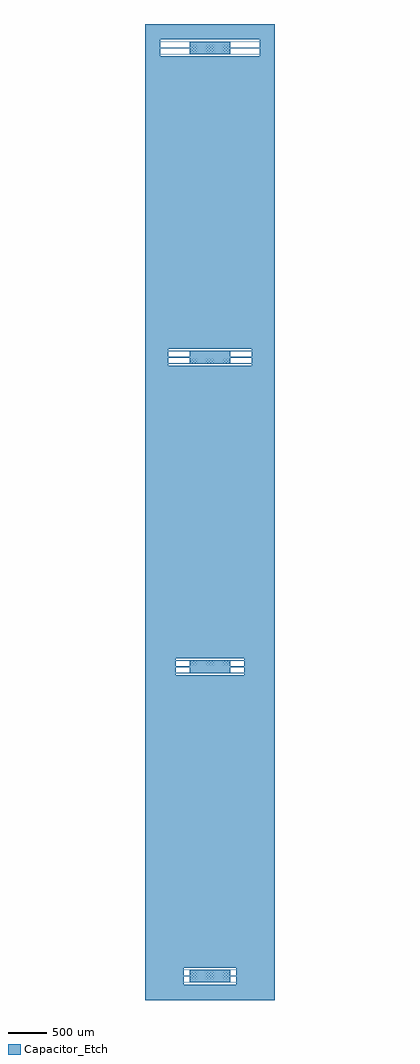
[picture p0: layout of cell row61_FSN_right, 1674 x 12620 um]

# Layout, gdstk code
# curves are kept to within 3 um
import gdstk
lib = gdstk.Library(unit=1e-6, precision=1e-09)
def R(c, l, rs):  # rectangles x0, y0, x1, y1
    for r in rs: c.add(gdstk.rectangle(r[:2], r[2:], *l))
def P(c, l, *ps):  # polygons
    for p in ps: c.add(gdstk.Polygon(p, *l))
Capacitor_Etch = (7, 0)

row61_fsn_right = lib.new_cell('row61_FSN_right')
R(row61_fsn_right, Capacitor_Etch, [(6285.25,12680,6425.25,12880), (6425.25,12680,6565.25,12880)])
P(row61_fsn_right, Capacitor_Etch, [(6425.25,488),(6425.25,575),(5603,575),(5603,498),(6099,498),(6099,559),(6105,565),(6175,565),(6181,555.25),(6205.25,555.25),(6205.25,564.75),(6214.75,564.75),(6214.75,555.25),(6245.25,555.25),(6245.25,564.75),(6254.75,564.75),(6254.75,555.25),(6285.25,555.25),(6285.25,564.75),(6294.75,564.75),(6294.75,555.25),(6325.25,555.25),(6325.25,564.75),(6334.75,564.75),(6334.75,555.25),(6365.25,555.25),(6365.25,564.75),(6374.75,564.75),(6374.75,555.25),(6405.25,555.25),(6405.25,564.75),(6414.75,564.75),(6414.75,555.25),(6181,555.25),(6181,535.25),(6185.25,535.25),(6185.25,544.75),(6194.75,544.75),(6194.75,535.25),(6225.25,535.25),(6225.25,544.75),(6234.75,544.75),(6234.75,535.25),(6265.25,535.25),(6265.25,544.75),(6274.75,544.75),(6274.75,535.25),(6305.25,535.25),(6305.25,544.75),(6314.75,544.75),(6314.75,535.25),(6345.25,535.25),(6345.25,544.75),(6354.75,544.75),(6354.75,535.25),(6385.25,535.25),(6385.25,544.75),(6394.75,544.75),(6394.75,535.25),(6181,535.25),(6181,515.25),(6205.25,515.25),(6205.25,524.75),(6214.75,524.75),(6214.75,515.25),(6245.25,515.25),(6245.25,524.75),(6254.75,524.75),(6254.75,515.25),(6285.25,515.25),(6285.25,524.75),(6294.75,524.75),(6294.75,515.25),(6325.25,515.25),(6325.25,524.75),(6334.75,524.75),(6334.75,515.25),(6365.25,515.25),(6365.25,524.75),(6374.75,524.75),(6374.75,515.25),(6405.25,515.25),(6405.25,524.75),(6414.75,524.75),(6414.75,515.25),(6181,515.25),(6178.25,495.25),(6185.25,495.25),(6185.25,504.75),(6194.75,504.75),(6194.75,495.25),(6225.25,495.25),(6225.25,504.75),(6234.75,504.75),(6234.75,495.25),(6265.25,495.25),(6265.25,504.75),(6274.75,504.75),(6274.75,495.25),(6305.25,495.25),(6305.25,504.75),(6314.75,504.75),(6314.75,495.25),(6345.25,495.25),(6345.25,504.75),(6354.75,504.75),(6354.75,495.25),(6385.25,495.25),(6385.25,504.75),(6394.75,504.75),(6394.75,495.25),(6105,492),(6099,498),(5603,498),(5603,260),(6425.25,260),(6425.25,460),(6099,460),(6099,488)],
  [(6425.25,555.25),(6445.25,555.25),(6445.25,564.75),(6454.75,564.75),(6454.75,555.25),(6485.25,555.25),(6485.25,564.75),(6494.75,564.75),(6494.75,555.25),(6525.25,555.25),(6525.25,564.75),(6534.75,564.75),(6534.75,555.25),(6565.25,555.25),(6565.25,564.75),(6574.75,564.75),(6574.75,555.25),(6605.25,555.25),(6605.25,564.75),(6614.75,564.75),(6614.75,555.25),(6645.25,555.25),(6645.25,564.75),(6654.75,564.75),(6654.75,555.25),(6685.25,555.25),(6685.25,564.75),(6694.75,564.75),(6694.75,555.25),(6425.25,555.25),(6425.25,544.75),(6434.75,544.75),(6434.75,535.25),(6465.25,535.25),(6465.25,544.75),(6474.75,544.75),(6474.75,535.25),(6505.25,535.25),(6505.25,544.75),(6514.75,544.75),(6514.75,535.25),(6545.25,535.25),(6545.25,544.75),(6554.75,544.75),(6554.75,535.25),(6585.25,535.25),(6585.25,544.75),(6594.75,544.75),(6594.75,535.25),(6625.25,535.25),(6625.25,544.75),(6634.75,544.75),(6634.75,535.25),(6665.25,535.25),(6665.25,544.75),(6674.75,544.75),(6674.75,535.25),(6425.25,535.25),(6425.25,515.25),(6445.25,515.25),(6445.25,524.75),(6454.75,524.75),(6454.75,515.25),(6485.25,515.25),(6485.25,524.75),(6494.75,524.75),(6494.75,515.25),(6525.25,515.25),(6525.25,524.75),(6534.75,524.75),(6534.75,515.25),(6565.25,515.25),(6565.25,524.75),(6574.75,524.75),(6574.75,515.25),(6605.25,515.25),(6605.25,524.75),(6614.75,524.75),(6614.75,515.25),(6645.25,515.25),(6645.25,524.75),(6654.75,524.75),(6654.75,515.25),(6685.25,515.25),(6685.25,524.75),(6694.75,524.75),(6694.75,515.25),(6425.25,515.25),(6425.25,504.75),(6434.75,504.75),(6434.75,495.25),(6465.25,495.25),(6465.25,504.75),(6474.75,504.75),(6474.75,495.25),(6505.25,495.25),(6505.25,504.75),(6514.75,504.75),(6514.75,495.25),(6545.25,495.25),(6545.25,504.75),(6554.75,504.75),(6554.75,495.25),(6585.25,495.25),(6585.25,504.75),(6594.75,504.75),(6594.75,495.25),(6625.25,495.25),(6625.25,504.75),(6634.75,504.75),(6634.75,495.25),(6665.25,495.25),(6665.25,504.75),(6674.75,504.75),(6674.75,498),(6699,498),(6699,559),(6705,565),(6775,565),(6781,559),(6781,498),(6775,492),(6705,492),(6699,498),(6425.25,495.25),(6425.25,488),(6781,488),(6781,460),(6425.25,460),(6425.25,260),(7277,260),(7277,575),(6425.25,575)],
  [(6099,581),(6099,615.25),(5603,615.25),(5603,575),(6105,575)],
  [(6175.25,575.25),(6185.25,575.25),(6185.25,584.75),(6194.75,584.75),(6194.75,575.25),(6225.25,575.25),(6225.25,584.75),(6234.75,584.75),(6234.75,575.25),(6265.25,575.25),(6265.25,584.75),(6274.75,584.75),(6274.75,575.25),(6305.25,575.25),(6305.25,584.75),(6314.75,584.75),(6314.75,575.25),(6345.25,575.25),(6345.25,584.75),(6354.75,584.75),(6354.75,575.25),(6385.25,575.25),(6385.25,584.75),(6394.75,584.75),(6394.75,575.25),(6425.25,575.25),(6425.25,584.75),(6434.75,584.75),(6434.75,575.25),(6465.25,575.25),(6465.25,584.75),(6474.75,584.75),(6474.75,575.25),(6505.25,575.25),(6505.25,584.75),(6514.75,584.75),(6514.75,575.25),(6545.25,575.25),(6545.25,584.75),(6554.75,584.75),(6554.75,575.25),(6585.25,575.25),(6585.25,584.75),(6594.75,584.75),(6594.75,575.25),(6625.25,575.25),(6625.25,584.75),(6634.75,584.75),(6634.75,575.25),(6665.25,575.25),(6665.25,584.75),(6674.75,584.75),(6674.75,575.25),(6175,575),(6705,575),(6699,581),(6699,615.25),(6181,615.25),(6181,595.25),(6205.25,595.25),(6205.25,604.75),(6214.75,604.75),(6214.75,595.25),(6245.25,595.25),(6245.25,604.75),(6254.75,604.75),(6254.75,595.25),(6285.25,595.25),(6285.25,604.75),(6294.75,604.75),(6294.75,595.25),(6325.25,595.25),(6325.25,604.75),(6334.75,604.75),(6334.75,595.25),(6365.25,595.25),(6365.25,604.75),(6374.75,604.75),(6374.75,595.25),(6405.25,595.25),(6405.25,604.75),(6414.75,604.75),(6414.75,595.25),(6445.25,595.25),(6445.25,604.75),(6454.75,604.75),(6454.75,595.25),(6485.25,595.25),(6485.25,604.75),(6494.75,604.75),(6494.75,595.25),(6525.25,595.25),(6525.25,604.75),(6534.75,604.75),(6534.75,595.25),(6565.25,595.25),(6565.25,604.75),(6574.75,604.75),(6574.75,595.25),(6605.25,595.25),(6605.25,604.75),(6614.75,604.75),(6614.75,595.25),(6645.25,595.25),(6645.25,604.75),(6654.75,604.75),(6654.75,595.25),(6685.25,595.25),(6685.25,604.75),(6694.75,604.75),(6694.75,595.25),(6181,595.25),(6181,581)],
  [(7277,615.25),(6781,615.25),(6781,581),(6775,575),(7277,575)],
  [(6185.25,615.25),(6185.25,624.75),(6194.75,624.75),(6194.75,615.25),(6225.25,615.25),(6225.25,624.75),(6234.75,624.75),(6234.75,615.25),(6265.25,615.25),(6265.25,624.75),(6274.75,624.75),(6274.75,615.25),(6305.25,615.25),(6305.25,624.75),(6314.75,624.75),(6314.75,615.25),(6345.25,615.25),(6345.25,624.75),(6354.75,624.75),(6354.75,615.25),(6385.25,615.25),(6385.25,624.75),(6394.75,624.75),(6394.75,615.25),(6425.25,615.25),(6425.25,624.75),(6434.75,624.75),(6434.75,615.25),(6465.25,615.25),(6465.25,624.75),(6474.75,624.75),(6474.75,615.25),(6505.25,615.25),(6505.25,624.75),(6514.75,624.75),(6514.75,615.25),(6545.25,615.25),(6545.25,624.75),(6554.75,624.75),(6554.75,615.25),(6585.25,615.25),(6585.25,624.75),(6594.75,624.75),(6594.75,615.25),(6625.25,615.25),(6625.25,624.75),(6634.75,624.75),(6634.75,615.25),(6665.25,615.25),(6665.25,624.75),(6674.75,624.75),(6674.75,615.25),(6699,615.25),(6699,642),(6705,648),(6775,648),(6781,642),(6781,615.25),(7277,615.25),(7277,4460),(5603,4460),(5603,652),(6099,652),(6099,680),(6781,680),(6781,652),(5603,652),(5603,615.25),(6099,615.25),(6099,642),(6105,648),(6175,648),(6181,635.25),(6205.25,635.25),(6205.25,644.75),(6214.75,644.75),(6214.75,635.25),(6245.25,635.25),(6245.25,644.75),(6254.75,644.75),(6254.75,635.25),(6285.25,635.25),(6285.25,644.75),(6294.75,644.75),(6294.75,635.25),(6325.25,635.25),(6325.25,644.75),(6334.75,644.75),(6334.75,635.25),(6365.25,635.25),(6365.25,644.75),(6374.75,644.75),(6374.75,635.25),(6405.25,635.25),(6405.25,644.75),(6414.75,644.75),(6414.75,635.25),(6445.25,635.25),(6445.25,644.75),(6454.75,644.75),(6454.75,635.25),(6485.25,635.25),(6485.25,644.75),(6494.75,644.75),(6494.75,635.25),(6525.25,635.25),(6525.25,644.75),(6534.75,644.75),(6534.75,635.25),(6565.25,635.25),(6565.25,644.75),(6574.75,644.75),(6574.75,635.25),(6605.25,635.25),(6605.25,644.75),(6614.75,644.75),(6614.75,635.25),(6645.25,635.25),(6645.25,644.75),(6654.75,644.75),(6654.75,635.25),(6685.25,635.25),(6685.25,644.75),(6694.75,644.75),(6694.75,635.25),(6181,635.25),(6181,615.25)],
  [(6434.75,4504.75),(6434.75,4535.25),(6425.25,4535.25),(6425.25,4544.75),(6434.75,4544.75),(6434.75,4575),(5603,4575),(5603,4498),(5999,4498),(5999,4559),(6005,4565),(6175,4565),(6181,4555.25),(6205.25,4555.25),(6205.25,4564.75),(6214.75,4564.75),(6214.75,4555.25),(6245.25,4555.25),(6245.25,4564.75),(6254.75,4564.75),(6254.75,4555.25),(6285.25,4555.25),(6285.25,4564.75),(6294.75,4564.75),(6294.75,4555.25),(6325.25,4555.25),(6325.25,4564.75),(6334.75,4564.75),(6334.75,4555.25),(6365.25,4555.25),(6365.25,4564.75),(6374.75,4564.75),(6374.75,4555.25),(6405.25,4555.25),(6405.25,4564.75),(6414.75,4564.75),(6414.75,4555.25),(6181,4555.25),(6181,4535.25),(6185.25,4535.25),(6185.25,4544.75),(6194.75,4544.75),(6194.75,4535.25),(6225.25,4535.25),(6225.25,4544.75),(6234.75,4544.75),(6234.75,4535.25),(6265.25,4535.25),(6265.25,4544.75),(6274.75,4544.75),(6274.75,4535.25),(6305.25,4535.25),(6305.25,4544.75),(6314.75,4544.75),(6314.75,4535.25),(6345.25,4535.25),(6345.25,4544.75),(6354.75,4544.75),(6354.75,4535.25),(6385.25,4535.25),(6385.25,4544.75),(6394.75,4544.75),(6394.75,4535.25),(6181,4535.25),(6181,4515.25),(6205.25,4515.25),(6205.25,4524.75),(6214.75,4524.75),(6214.75,4515.25),(6245.25,4515.25),(6245.25,4524.75),(6254.75,4524.75),(6254.75,4515.25),(6285.25,4515.25),(6285.25,4524.75),(6294.75,4524.75),(6294.75,4515.25),(6325.25,4515.25),(6325.25,4524.75),(6334.75,4524.75),(6334.75,4515.25),(6365.25,4515.25),(6365.25,4524.75),(6374.75,4524.75),(6374.75,4515.25),(6405.25,4515.25),(6405.25,4524.75),(6414.75,4524.75),(6414.75,4515.25),(6181,4515.25),(6178.25,4495.25),(6185.25,4495.25),(6185.25,4504.75),(6194.75,4504.75),(6194.75,4495.25),(6225.25,4495.25),(6225.25,4504.75),(6234.75,4504.75),(6234.75,4495.25),(6265.25,4495.25),(6265.25,4504.75),(6274.75,4504.75),(6274.75,4495.25),(6305.25,4495.25),(6305.25,4504.75),(6314.75,4504.75),(6314.75,4495.25),(6345.25,4495.25),(6345.25,4504.75),(6354.75,4504.75),(6354.75,4495.25),(6385.25,4495.25),(6385.25,4504.75),(6394.75,4504.75),(6394.75,4495.25),(6005,4492),(5999,4498),(5603,4498),(5603,4460),(5999,4460),(5999,4488),(6434.75,4488),(6434.75,4495.25),(6425.25,4495.25),(6425.25,4504.75)],
  [(6434.75,4555.25),(6445.25,4555.25),(6445.25,4564.75),(6454.75,4564.75),(6454.75,4555.25),(6485.25,4555.25),(6485.25,4564.75),(6494.75,4564.75),(6494.75,4555.25),(6525.25,4555.25),(6525.25,4564.75),(6534.75,4564.75),(6534.75,4555.25),(6565.25,4555.25),(6565.25,4564.75),(6574.75,4564.75),(6574.75,4555.25),(6605.25,4555.25),(6605.25,4564.75),(6614.75,4564.75),(6614.75,4555.25),(6645.25,4555.25),(6645.25,4564.75),(6654.75,4564.75),(6654.75,4555.25),(6685.25,4555.25),(6685.25,4564.75),(6694.75,4564.75),(6694.75,4555.25),(6434.75,4555.25),(6434.75,4535.25),(6465.25,4535.25),(6465.25,4544.75),(6474.75,4544.75),(6474.75,4535.25),(6505.25,4535.25),(6505.25,4544.75),(6514.75,4544.75),(6514.75,4535.25),(6545.25,4535.25),(6545.25,4544.75),(6554.75,4544.75),(6554.75,4535.25),(6585.25,4535.25),(6585.25,4544.75),(6594.75,4544.75),(6594.75,4535.25),(6625.25,4535.25),(6625.25,4544.75),(6634.75,4544.75),(6634.75,4535.25),(6665.25,4535.25),(6665.25,4544.75),(6674.75,4544.75),(6674.75,4535.25),(6434.75,4535.25),(6434.75,4515.25),(6445.25,4515.25),(6445.25,4524.75),(6454.75,4524.75),(6454.75,4515.25),(6485.25,4515.25),(6485.25,4524.75),(6494.75,4524.75),(6494.75,4515.25),(6525.25,4515.25),(6525.25,4524.75),(6534.75,4524.75),(6534.75,4515.25),(6565.25,4515.25),(6565.25,4524.75),(6574.75,4524.75),(6574.75,4515.25),(6605.25,4515.25),(6605.25,4524.75),(6614.75,4524.75),(6614.75,4515.25),(6645.25,4515.25),(6645.25,4524.75),(6654.75,4524.75),(6654.75,4515.25),(6685.25,4515.25),(6685.25,4524.75),(6694.75,4524.75),(6694.75,4515.25),(6434.75,4515.25),(6434.75,4495.25),(6465.25,4495.25),(6465.25,4504.75),(6474.75,4504.75),(6474.75,4495.25),(6505.25,4495.25),(6505.25,4504.75),(6514.75,4504.75),(6514.75,4495.25),(6545.25,4495.25),(6545.25,4504.75),(6554.75,4504.75),(6554.75,4495.25),(6585.25,4495.25),(6585.25,4504.75),(6594.75,4504.75),(6594.75,4495.25),(6625.25,4495.25),(6625.25,4504.75),(6634.75,4504.75),(6634.75,4495.25),(6665.25,4495.25),(6665.25,4504.75),(6674.75,4504.75),(6674.75,4498),(6699,4498),(6699,4559),(6705,4565),(6875,4565),(6881,4559),(6881,4498),(6875,4492),(6705,4492),(6699,4498),(6674.75,4498),(6434.75,4495.25),(6434.75,4488),(6881,4488),(6881,4460),(7277,4460),(7277,4575),(6434.75,4575)],
  [(5999,4581),(5999,4615.25),(5603,4615.25),(5603,4575),(6005,4575)],
  [(6175.25,4575.25),(6185.25,4575.25),(6185.25,4584.75),(6194.75,4584.75),(6194.75,4575.25),(6225.25,4575.25),(6225.25,4584.75),(6234.75,4584.75),(6234.75,4575.25),(6265.25,4575.25),(6265.25,4584.75),(6274.75,4584.75),(6274.75,4575.25),(6305.25,4575.25),(6305.25,4584.75),(6314.75,4584.75),(6314.75,4575.25),(6345.25,4575.25),(6345.25,4584.75),(6354.75,4584.75),(6354.75,4575.25),(6385.25,4575.25),(6385.25,4584.75),(6394.75,4584.75),(6394.75,4575.25),(6425.25,4575.25),(6425.25,4584.75),(6434.75,4584.75),(6434.75,4575.25),(6465.25,4575.25),(6465.25,4584.75),(6474.75,4584.75),(6474.75,4575.25),(6505.25,4575.25),(6505.25,4584.75),(6514.75,4584.75),(6514.75,4575.25),(6545.25,4575.25),(6545.25,4584.75),(6554.75,4584.75),(6554.75,4575.25),(6585.25,4575.25),(6585.25,4584.75),(6594.75,4584.75),(6594.75,4575.25),(6625.25,4575.25),(6625.25,4584.75),(6634.75,4584.75),(6634.75,4575.25),(6665.25,4575.25),(6665.25,4584.75),(6674.75,4584.75),(6674.75,4575.25),(6175,4575),(6705,4575),(6699,4581),(6699,4615.25),(6181,4615.25),(6181,4595.25),(6205.25,4595.25),(6205.25,4604.75),(6214.75,4604.75),(6214.75,4595.25),(6245.25,4595.25),(6245.25,4604.75),(6254.75,4604.75),(6254.75,4595.25),(6285.25,4595.25),(6285.25,4604.75),(6294.75,4604.75),(6294.75,4595.25),(6325.25,4595.25),(6325.25,4604.75),(6334.75,4604.75),(6334.75,4595.25),(6365.25,4595.25),(6365.25,4604.75),(6374.75,4604.75),(6374.75,4595.25),(6405.25,4595.25),(6405.25,4604.75),(6414.75,4604.75),(6414.75,4595.25),(6445.25,4595.25),(6445.25,4604.75),(6454.75,4604.75),(6454.75,4595.25),(6485.25,4595.25),(6485.25,4604.75),(6494.75,4604.75),(6494.75,4595.25),(6525.25,4595.25),(6525.25,4604.75),(6534.75,4604.75),(6534.75,4595.25),(6565.25,4595.25),(6565.25,4604.75),(6574.75,4604.75),(6574.75,4595.25),(6605.25,4595.25),(6605.25,4604.75),(6614.75,4604.75),(6614.75,4595.25),(6645.25,4595.25),(6645.25,4604.75),(6654.75,4604.75),(6654.75,4595.25),(6685.25,4595.25),(6685.25,4604.75),(6694.75,4604.75),(6694.75,4595.25),(6181,4595.25),(6181,4581)],
  [(7277,4615.25),(6881,4615.25),(6881,4581),(6875,4575),(7277,4575)],
  [(6185.25,4615.25),(6185.25,4624.75),(6194.75,4624.75),(6194.75,4615.25),(6225.25,4615.25),(6225.25,4624.75),(6234.75,4624.75),(6234.75,4615.25),(6265.25,4615.25),(6265.25,4624.75),(6274.75,4624.75),(6274.75,4615.25),(6305.25,4615.25),(6305.25,4624.75),(6314.75,4624.75),(6314.75,4615.25),(6345.25,4615.25),(6345.25,4624.75),(6354.75,4624.75),(6354.75,4615.25),(6385.25,4615.25),(6385.25,4624.75),(6394.75,4624.75),(6394.75,4615.25),(6425.25,4615.25),(6425.25,4624.75),(6434.75,4624.75),(6434.75,4615.25),(6465.25,4615.25),(6465.25,4624.75),(6474.75,4624.75),(6474.75,4615.25),(6505.25,4615.25),(6505.25,4624.75),(6514.75,4624.75),(6514.75,4615.25),(6545.25,4615.25),(6545.25,4624.75),(6554.75,4624.75),(6554.75,4615.25),(6585.25,4615.25),(6585.25,4624.75),(6594.75,4624.75),(6594.75,4615.25),(6625.25,4615.25),(6625.25,4624.75),(6634.75,4624.75),(6634.75,4615.25),(6665.25,4615.25),(6665.25,4624.75),(6674.75,4624.75),(6674.75,4615.25),(6699,4615.25),(6699,4642),(6705,4648),(6875,4648),(6881,4642),(6881,4615.25),(7277,4615.25),(7277,8460),(5603,8460),(5603,4652),(5999,4652),(5999,4680),(6881,4680),(6881,4652),(5603,4652),(5603,4615.25),(5999,4615.25),(5999,4642),(6005,4648),(6175,4648),(6181,4635.25),(6205.25,4635.25),(6205.25,4644.75),(6214.75,4644.75),(6214.75,4635.25),(6245.25,4635.25),(6245.25,4644.75),(6254.75,4644.75),(6254.75,4635.25),(6285.25,4635.25),(6285.25,4644.75),(6294.75,4644.75),(6294.75,4635.25),(6325.25,4635.25),(6325.25,4644.75),(6334.75,4644.75),(6334.75,4635.25),(6365.25,4635.25),(6365.25,4644.75),(6374.75,4644.75),(6374.75,4635.25),(6405.25,4635.25),(6405.25,4644.75),(6414.75,4644.75),(6414.75,4635.25),(6445.25,4635.25),(6445.25,4644.75),(6454.75,4644.75),(6454.75,4635.25),(6485.25,4635.25),(6485.25,4644.75),(6494.75,4644.75),(6494.75,4635.25),(6525.25,4635.25),(6525.25,4644.75),(6534.75,4644.75),(6534.75,4635.25),(6565.25,4635.25),(6565.25,4644.75),(6574.75,4644.75),(6574.75,4635.25),(6605.25,4635.25),(6605.25,4644.75),(6614.75,4644.75),(6614.75,4635.25),(6645.25,4635.25),(6645.25,4644.75),(6654.75,4644.75),(6654.75,4635.25),(6685.25,4635.25),(6685.25,4644.75),(6694.75,4644.75),(6694.75,4635.25),(6181,4635.25),(6181,4615.25)],
  [(6434.75,8504.75),(6434.75,8535.25),(6425.25,8535.25),(6425.25,8544.75),(6434.75,8544.75),(6434.75,8575),(5603,8575),(5603,8498),(5899,8498),(5899,8559),(5905,8565),(6175,8565),(6181,8555.25),(6205.25,8555.25),(6205.25,8564.75),(6214.75,8564.75),(6214.75,8555.25),(6245.25,8555.25),(6245.25,8564.75),(6254.75,8564.75),(6254.75,8555.25),(6285.25,8555.25),(6285.25,8564.75),(6294.75,8564.75),(6294.75,8555.25),(6325.25,8555.25),(6325.25,8564.75),(6334.75,8564.75),(6334.75,8555.25),(6365.25,8555.25),(6365.25,8564.75),(6374.75,8564.75),(6374.75,8555.25),(6405.25,8555.25),(6405.25,8564.75),(6414.75,8564.75),(6414.75,8555.25),(6181,8555.25),(6181,8535.25),(6185.25,8535.25),(6185.25,8544.75),(6194.75,8544.75),(6194.75,8535.25),(6225.25,8535.25),(6225.25,8544.75),(6234.75,8544.75),(6234.75,8535.25),(6265.25,8535.25),(6265.25,8544.75),(6274.75,8544.75),(6274.75,8535.25),(6305.25,8535.25),(6305.25,8544.75),(6314.75,8544.75),(6314.75,8535.25),(6345.25,8535.25),(6345.25,8544.75),(6354.75,8544.75),(6354.75,8535.25),(6385.25,8535.25),(6385.25,8544.75),(6394.75,8544.75),(6394.75,8535.25),(6181,8535.25),(6181,8515.25),(6205.25,8515.25),(6205.25,8524.75),(6214.75,8524.75),(6214.75,8515.25),(6245.25,8515.25),(6245.25,8524.75),(6254.75,8524.75),(6254.75,8515.25),(6285.25,8515.25),(6285.25,8524.75),(6294.75,8524.75),(6294.75,8515.25),(6325.25,8515.25),(6325.25,8524.75),(6334.75,8524.75),(6334.75,8515.25),(6365.25,8515.25),(6365.25,8524.75),(6374.75,8524.75),(6374.75,8515.25),(6405.25,8515.25),(6405.25,8524.75),(6414.75,8524.75),(6414.75,8515.25),(6181,8515.25),(6181,8498),(6178.25,8495.25),(6185.25,8495.25),(6185.25,8504.75),(6194.75,8504.75),(6194.75,8495.25),(6225.25,8495.25),(6225.25,8504.75),(6234.75,8504.75),(6234.75,8495.25),(6265.25,8495.25),(6265.25,8504.75),(6274.75,8504.75),(6274.75,8495.25),(6305.25,8495.25),(6305.25,8504.75),(6314.75,8504.75),(6314.75,8495.25),(6345.25,8495.25),(6345.25,8504.75),(6354.75,8504.75),(6354.75,8495.25),(6385.25,8495.25),(6385.25,8504.75),(6394.75,8504.75),(6394.75,8495.25),(5905,8492),(5899,8498),(5603,8498),(5603,8460),(5899,8460),(5899,8488),(6434.75,8488),(6434.75,8495.25),(6425.25,8495.25),(6425.25,8504.75)],
  [(6434.75,8555.25),(6445.25,8555.25),(6445.25,8564.75),(6454.75,8564.75),(6454.75,8555.25),(6485.25,8555.25),(6485.25,8564.75),(6494.75,8564.75),(6494.75,8555.25),(6525.25,8555.25),(6525.25,8564.75),(6534.75,8564.75),(6534.75,8555.25),(6565.25,8555.25),(6565.25,8564.75),(6574.75,8564.75),(6574.75,8555.25),(6605.25,8555.25),(6605.25,8564.75),(6614.75,8564.75),(6614.75,8555.25),(6645.25,8555.25),(6645.25,8564.75),(6654.75,8564.75),(6654.75,8555.25),(6685.25,8555.25),(6685.25,8564.75),(6694.75,8564.75),(6694.75,8555.25),(6434.75,8555.25),(6434.75,8535.25),(6465.25,8535.25),(6465.25,8544.75),(6474.75,8544.75),(6474.75,8535.25),(6505.25,8535.25),(6505.25,8544.75),(6514.75,8544.75),(6514.75,8535.25),(6545.25,8535.25),(6545.25,8544.75),(6554.75,8544.75),(6554.75,8535.25),(6585.25,8535.25),(6585.25,8544.75),(6594.75,8544.75),(6594.75,8535.25),(6625.25,8535.25),(6625.25,8544.75),(6634.75,8544.75),(6634.75,8535.25),(6665.25,8535.25),(6665.25,8544.75),(6674.75,8544.75),(6674.75,8535.25),(6434.75,8535.25),(6434.75,8515.25),(6445.25,8515.25),(6445.25,8524.75),(6454.75,8524.75),(6454.75,8515.25),(6485.25,8515.25),(6485.25,8524.75),(6494.75,8524.75),(6494.75,8515.25),(6525.25,8515.25),(6525.25,8524.75),(6534.75,8524.75),(6534.75,8515.25),(6565.25,8515.25),(6565.25,8524.75),(6574.75,8524.75),(6574.75,8515.25),(6605.25,8515.25),(6605.25,8524.75),(6614.75,8524.75),(6614.75,8515.25),(6645.25,8515.25),(6645.25,8524.75),(6654.75,8524.75),(6654.75,8515.25),(6685.25,8515.25),(6685.25,8524.75),(6694.75,8524.75),(6694.75,8515.25),(6434.75,8515.25),(6434.75,8495.25),(6465.25,8495.25),(6465.25,8504.75),(6474.75,8504.75),(6474.75,8495.25),(6505.25,8495.25),(6505.25,8504.75),(6514.75,8504.75),(6514.75,8495.25),(6545.25,8495.25),(6545.25,8504.75),(6554.75,8504.75),(6554.75,8495.25),(6585.25,8495.25),(6585.25,8504.75),(6594.75,8504.75),(6594.75,8495.25),(6625.25,8495.25),(6625.25,8504.75),(6634.75,8504.75),(6634.75,8495.25),(6665.25,8495.25),(6665.25,8504.75),(6674.75,8504.75),(6674.75,8498),(6699,8498),(6699,8559),(6705,8565),(6975,8565),(6981,8559),(6981,8498),(6975,8492),(6705,8492),(6699,8498),(6674.75,8498),(6674.75,8495.25),(6434.75,8495.25),(6434.75,8488),(6981,8488),(6981,8460),(7277,8460),(7277,8575),(6434.75,8575)],
  [(5899,8581),(5899,8615.25),(5603,8615.25),(5603,8575),(5905,8575)],
  [(6175.25,8575.25),(6185.25,8575.25),(6185.25,8584.75),(6194.75,8584.75),(6194.75,8575.25),(6225.25,8575.25),(6225.25,8584.75),(6234.75,8584.75),(6234.75,8575.25),(6265.25,8575.25),(6265.25,8584.75),(6274.75,8584.75),(6274.75,8575.25),(6305.25,8575.25),(6305.25,8584.75),(6314.75,8584.75),(6314.75,8575.25),(6345.25,8575.25),(6345.25,8584.75),(6354.75,8584.75),(6354.75,8575.25),(6385.25,8575.25),(6385.25,8584.75),(6394.75,8584.75),(6394.75,8575.25),(6425.25,8575.25),(6425.25,8584.75),(6434.75,8584.75),(6434.75,8575.25),(6465.25,8575.25),(6465.25,8584.75),(6474.75,8584.75),(6474.75,8575.25),(6505.25,8575.25),(6505.25,8584.75),(6514.75,8584.75),(6514.75,8575.25),(6545.25,8575.25),(6545.25,8584.75),(6554.75,8584.75),(6554.75,8575.25),(6585.25,8575.25),(6585.25,8584.75),(6594.75,8584.75),(6594.75,8575.25),(6625.25,8575.25),(6625.25,8584.75),(6634.75,8584.75),(6634.75,8575.25),(6665.25,8575.25),(6665.25,8584.75),(6674.75,8584.75),(6674.75,8575.25),(6175,8575),(6705,8575),(6699,8581),(6699,8615.25),(6181,8615.25),(6181,8595.25),(6205.25,8595.25),(6205.25,8604.75),(6214.75,8604.75),(6214.75,8595.25),(6245.25,8595.25),(6245.25,8604.75),(6254.75,8604.75),(6254.75,8595.25),(6285.25,8595.25),(6285.25,8604.75),(6294.75,8604.75),(6294.75,8595.25),(6325.25,8595.25),(6325.25,8604.75),(6334.75,8604.75),(6334.75,8595.25),(6365.25,8595.25),(6365.25,8604.75),(6374.75,8604.75),(6374.75,8595.25),(6405.25,8595.25),(6405.25,8604.75),(6414.75,8604.75),(6414.75,8595.25),(6445.25,8595.25),(6445.25,8604.75),(6454.75,8604.75),(6454.75,8595.25),(6485.25,8595.25),(6485.25,8604.75),(6494.75,8604.75),(6494.75,8595.25),(6525.25,8595.25),(6525.25,8604.75),(6534.75,8604.75),(6534.75,8595.25),(6565.25,8595.25),(6565.25,8604.75),(6574.75,8604.75),(6574.75,8595.25),(6605.25,8595.25),(6605.25,8604.75),(6614.75,8604.75),(6614.75,8595.25),(6645.25,8595.25),(6645.25,8604.75),(6654.75,8604.75),(6654.75,8595.25),(6685.25,8595.25),(6685.25,8604.75),(6694.75,8604.75),(6694.75,8595.25),(6181,8595.25),(6181,8581)],
  [(7277,8615.25),(6981,8615.25),(6981,8581),(6975,8575),(7277,8575)],
  [(6185.25,8615.25),(6185.25,8624.75),(6194.75,8624.75),(6194.75,8615.25),(6225.25,8615.25),(6225.25,8624.75),(6234.75,8624.75),(6234.75,8615.25),(6265.25,8615.25),(6265.25,8624.75),(6274.75,8624.75),(6274.75,8615.25),(6305.25,8615.25),(6305.25,8624.75),(6314.75,8624.75),(6314.75,8615.25),(6345.25,8615.25),(6345.25,8624.75),(6354.75,8624.75),(6354.75,8615.25),(6385.25,8615.25),(6385.25,8624.75),(6394.75,8624.75),(6394.75,8615.25),(6425.25,8615.25),(6425.25,8624.75),(6434.75,8624.75),(6434.75,8615.25),(6465.25,8615.25),(6465.25,8624.75),(6474.75,8624.75),(6474.75,8615.25),(6505.25,8615.25),(6505.25,8624.75),(6514.75,8624.75),(6514.75,8615.25),(6545.25,8615.25),(6545.25,8624.75),(6554.75,8624.75),(6554.75,8615.25),(6585.25,8615.25),(6585.25,8624.75),(6594.75,8624.75),(6594.75,8615.25),(6625.25,8615.25),(6625.25,8624.75),(6634.75,8624.75),(6634.75,8615.25),(6665.25,8615.25),(6665.25,8624.75),(6674.75,8624.75),(6674.75,8615.25),(6699,8615.25),(6699,8642),(6705,8648),(6975,8648),(6981,8642),(6981,8615.25),(7277,8615.25),(7277,12460),(5603,12460),(5603,8652),(5899,8652),(5899,8680),(6981,8680),(6981,8652),(5603,8652),(5603,8615.25),(5899,8615.25),(5899,8642),(5905,8648),(6175,8648),(6181,8635.25),(6205.25,8635.25),(6205.25,8644.75),(6214.75,8644.75),(6214.75,8635.25),(6245.25,8635.25),(6245.25,8644.75),(6254.75,8644.75),(6254.75,8635.25),(6285.25,8635.25),(6285.25,8644.75),(6294.75,8644.75),(6294.75,8635.25),(6325.25,8635.25),(6325.25,8644.75),(6334.75,8644.75),(6334.75,8635.25),(6365.25,8635.25),(6365.25,8644.75),(6374.75,8644.75),(6374.75,8635.25),(6405.25,8635.25),(6405.25,8644.75),(6414.75,8644.75),(6414.75,8635.25),(6445.25,8635.25),(6445.25,8644.75),(6454.75,8644.75),(6454.75,8635.25),(6485.25,8635.25),(6485.25,8644.75),(6494.75,8644.75),(6494.75,8635.25),(6525.25,8635.25),(6525.25,8644.75),(6534.75,8644.75),(6534.75,8635.25),(6565.25,8635.25),(6565.25,8644.75),(6574.75,8644.75),(6574.75,8635.25),(6605.25,8635.25),(6605.25,8644.75),(6614.75,8644.75),(6614.75,8635.25),(6645.25,8635.25),(6645.25,8644.75),(6654.75,8644.75),(6654.75,8635.25),(6685.25,8635.25),(6685.25,8644.75),(6694.75,8644.75),(6694.75,8635.25),(6181,8635.25),(6181,8615.25)],
  [(5799,12460),(5799,12488),(6285.25,12488),(6285.25,12652),(5799,12652),(5799,12680),(6285.25,12680),(6285.25,12880),(5603,12880),(5603,12581),(5799,12581),(5799,12642),(5805,12648),(6175,12648),(6181,12635.25),(6205.25,12635.25),(6205.25,12644.75),(6214.75,12644.75),(6214.75,12635.25),(6245.25,12635.25),(6245.25,12644.75),(6254.75,12644.75),(6254.75,12635.25),(6181,12635.25),(6181,12615.25),(6185.25,12615.25),(6185.25,12624.75),(6194.75,12624.75),(6194.75,12615.25),(6225.25,12615.25),(6225.25,12624.75),(6234.75,12624.75),(6234.75,12615.25),(6265.25,12615.25),(6265.25,12624.75),(6274.75,12624.75),(6274.75,12615.25),(6181,12615.25),(6181,12595.25),(6205.25,12595.25),(6205.25,12604.75),(6214.75,12604.75),(6214.75,12595.25),(6245.25,12595.25),(6245.25,12604.75),(6254.75,12604.75),(6254.75,12595.25),(6181,12595.25),(6181,12581),(6175.25,12575.25),(6185.25,12575.25),(6185.25,12584.75),(6194.75,12584.75),(6194.75,12575.25),(6225.25,12575.25),(6225.25,12584.75),(6234.75,12584.75),(6234.75,12575.25),(6265.25,12575.25),(6265.25,12584.75),(6274.75,12584.75),(6274.75,12575.25),(5805,12575),(5799,12581),(5603,12581),(5603,12498),(5799,12498),(5799,12559),(5805,12565),(6175,12565),(6181,12555.25),(6205.25,12555.25),(6205.25,12564.75),(6214.75,12564.75),(6214.75,12555.25),(6245.25,12555.25),(6245.25,12564.75),(6254.75,12564.75),(6254.75,12555.25),(6181,12555.25),(6181,12535.25),(6185.25,12535.25),(6185.25,12544.75),(6194.75,12544.75),(6194.75,12535.25),(6225.25,12535.25),(6225.25,12544.75),(6234.75,12544.75),(6234.75,12535.25),(6265.25,12535.25),(6265.25,12544.75),(6274.75,12544.75),(6274.75,12535.25),(6181,12535.25),(6181,12515.25),(6205.25,12515.25),(6205.25,12524.75),(6214.75,12524.75),(6214.75,12515.25),(6245.25,12515.25),(6245.25,12524.75),(6254.75,12524.75),(6254.75,12515.25),(6181,12515.25),(6178.25,12495.25),(6185.25,12495.25),(6185.25,12504.75),(6194.75,12504.75),(6194.75,12495.25),(6225.25,12495.25),(6225.25,12504.75),(6234.75,12504.75),(6234.75,12495.25),(6265.25,12495.25),(6265.25,12504.75),(6274.75,12504.75),(6274.75,12495.25),(5805,12492),(5799,12498),(5603,12498),(5603,12460)],
  [(6294.75,12635.25),(6325.25,12635.25),(6325.25,12644.75),(6334.75,12644.75),(6334.75,12635.25),(6365.25,12635.25),(6365.25,12644.75),(6374.75,12644.75),(6374.75,12635.25),(6405.25,12635.25),(6405.25,12644.75),(6414.75,12644.75),(6414.75,12635.25),(6405.25,12635.25),(6374.75,12635.25),(6365.25,12635.25),(6334.75,12635.25),(6325.25,12635.25),(6294.75,12635.25),(6285.25,12635.25),(6285.25,12615.25),(6305.25,12615.25),(6305.25,12624.75),(6314.75,12624.75),(6314.75,12615.25),(6345.25,12615.25),(6345.25,12624.75),(6354.75,12624.75),(6354.75,12615.25),(6385.25,12615.25),(6385.25,12624.75),(6394.75,12624.75),(6394.75,12615.25),(6385.25,12615.25),(6354.75,12615.25),(6345.25,12615.25),(6314.75,12615.25),(6305.25,12615.25),(6285.25,12615.25),(6285.25,12604.75),(6294.75,12604.75),(6294.75,12595.25),(6325.25,12595.25),(6325.25,12604.75),(6334.75,12604.75),(6334.75,12595.25),(6365.25,12595.25),(6365.25,12604.75),(6374.75,12604.75),(6374.75,12595.25),(6405.25,12595.25),(6405.25,12604.75),(6414.75,12604.75),(6414.75,12595.25),(6405.25,12595.25),(6374.75,12595.25),(6365.25,12595.25),(6334.75,12595.25),(6325.25,12595.25),(6294.75,12595.25),(6285.25,12595.25),(6285.25,12575.25),(6305.25,12575.25),(6305.25,12584.75),(6314.75,12584.75),(6314.75,12575.25),(6345.25,12575.25),(6345.25,12584.75),(6354.75,12584.75),(6354.75,12575.25),(6385.25,12575.25),(6385.25,12584.75),(6394.75,12584.75),(6394.75,12575.25),(6385.25,12575.25),(6354.75,12575.25),(6345.25,12575.25),(6314.75,12575.25),(6305.25,12575.25),(6285.25,12575.25),(6285.25,12564.75),(6294.75,12564.75),(6294.75,12555.25),(6325.25,12555.25),(6325.25,12564.75),(6334.75,12564.75),(6334.75,12555.25),(6365.25,12555.25),(6365.25,12564.75),(6374.75,12564.75),(6374.75,12555.25),(6405.25,12555.25),(6405.25,12564.75),(6414.75,12564.75),(6414.75,12555.25),(6405.25,12555.25),(6374.75,12555.25),(6365.25,12555.25),(6334.75,12555.25),(6325.25,12555.25),(6294.75,12555.25),(6285.25,12555.25),(6285.25,12535.25),(6305.25,12535.25),(6305.25,12544.75),(6314.75,12544.75),(6314.75,12535.25),(6345.25,12535.25),(6345.25,12544.75),(6354.75,12544.75),(6354.75,12535.25),(6385.25,12535.25),(6385.25,12544.75),(6394.75,12544.75),(6394.75,12535.25),(6385.25,12535.25),(6354.75,12535.25),(6345.25,12535.25),(6314.75,12535.25),(6305.25,12535.25),(6285.25,12535.25),(6285.25,12524.75),(6294.75,12524.75),(6294.75,12515.25),(6325.25,12515.25),(6325.25,12524.75),(6334.75,12524.75),(6334.75,12515.25),(6365.25,12515.25),(6365.25,12524.75),(6374.75,12524.75),(6374.75,12515.25),(6405.25,12515.25),(6405.25,12524.75),(6414.75,12524.75),(6414.75,12515.25),(6405.25,12515.25),(6374.75,12515.25),(6365.25,12515.25),(6334.75,12515.25),(6325.25,12515.25),(6294.75,12515.25),(6285.25,12515.25),(6285.25,12495.25),(6305.25,12495.25),(6305.25,12504.75),(6314.75,12504.75),(6314.75,12495.25),(6345.25,12495.25),(6345.25,12504.75),(6354.75,12504.75),(6354.75,12495.25),(6385.25,12495.25),(6385.25,12504.75),(6394.75,12504.75),(6394.75,12495.25),(6385.25,12495.25),(6354.75,12495.25),(6345.25,12495.25),(6314.75,12495.25),(6305.25,12495.25),(6285.25,12495.25),(6285.25,12488),(6425.25,12488),(6425.25,12652),(6285.25,12652),(6285.25,12644.75),(6294.75,12644.75)],
  [(6425.25,12652),(6425.25,12635.25),(6445.25,12635.25),(6445.25,12644.75),(6454.75,12644.75),(6454.75,12635.25),(6485.25,12635.25),(6485.25,12644.75),(6494.75,12644.75),(6494.75,12635.25),(6525.25,12635.25),(6525.25,12644.75),(6534.75,12644.75),(6534.75,12635.25),(6525.25,12635.25),(6494.75,12635.25),(6485.25,12635.25),(6454.75,12635.25),(6445.25,12635.25),(6425.25,12635.25),(6425.25,12624.75),(6434.75,12624.75),(6434.75,12615.25),(6465.25,12615.25),(6465.25,12624.75),(6474.75,12624.75),(6474.75,12615.25),(6505.25,12615.25),(6505.25,12624.75),(6514.75,12624.75),(6514.75,12615.25),(6545.25,12615.25),(6545.25,12624.75),(6554.75,12624.75),(6554.75,12615.25),(6545.25,12615.25),(6514.75,12615.25),(6505.25,12615.25),(6474.75,12615.25),(6465.25,12615.25),(6434.75,12615.25),(6425.25,12615.25),(6425.25,12595.25),(6445.25,12595.25),(6445.25,12604.75),(6454.75,12604.75),(6454.75,12595.25),(6485.25,12595.25),(6485.25,12604.75),(6494.75,12604.75),(6494.75,12595.25),(6525.25,12595.25),(6525.25,12604.75),(6534.75,12604.75),(6534.75,12595.25),(6525.25,12595.25),(6494.75,12595.25),(6485.25,12595.25),(6454.75,12595.25),(6445.25,12595.25),(6425.25,12595.25),(6425.25,12584.75),(6434.75,12584.75),(6434.75,12575.25),(6465.25,12575.25),(6465.25,12584.75),(6474.75,12584.75),(6474.75,12575.25),(6505.25,12575.25),(6505.25,12584.75),(6514.75,12584.75),(6514.75,12575.25),(6545.25,12575.25),(6545.25,12584.75),(6554.75,12584.75),(6554.75,12575.25),(6545.25,12575.25),(6514.75,12575.25),(6505.25,12575.25),(6474.75,12575.25),(6465.25,12575.25),(6434.75,12575.25),(6425.25,12575.25),(6425.25,12555.25),(6445.25,12555.25),(6445.25,12564.75),(6454.75,12564.75),(6454.75,12555.25),(6485.25,12555.25),(6485.25,12564.75),(6494.75,12564.75),(6494.75,12555.25),(6525.25,12555.25),(6525.25,12564.75),(6534.75,12564.75),(6534.75,12555.25),(6525.25,12555.25),(6494.75,12555.25),(6485.25,12555.25),(6454.75,12555.25),(6445.25,12555.25),(6425.25,12555.25),(6425.25,12544.75),(6434.75,12544.75),(6434.75,12535.25),(6465.25,12535.25),(6465.25,12544.75),(6474.75,12544.75),(6474.75,12535.25),(6505.25,12535.25),(6505.25,12544.75),(6514.75,12544.75),(6514.75,12535.25),(6545.25,12535.25),(6545.25,12544.75),(6554.75,12544.75),(6554.75,12535.25),(6545.25,12535.25),(6514.75,12535.25),(6505.25,12535.25),(6474.75,12535.25),(6465.25,12535.25),(6434.75,12535.25),(6425.25,12535.25),(6425.25,12515.25),(6445.25,12515.25),(6445.25,12524.75),(6454.75,12524.75),(6454.75,12515.25),(6485.25,12515.25),(6485.25,12524.75),(6494.75,12524.75),(6494.75,12515.25),(6525.25,12515.25),(6525.25,12524.75),(6534.75,12524.75),(6534.75,12515.25),(6525.25,12515.25),(6494.75,12515.25),(6485.25,12515.25),(6454.75,12515.25),(6445.25,12515.25),(6425.25,12515.25),(6425.25,12504.75),(6434.75,12504.75),(6434.75,12495.25),(6465.25,12495.25),(6465.25,12504.75),(6474.75,12504.75),(6474.75,12495.25),(6505.25,12495.25),(6505.25,12504.75),(6514.75,12504.75),(6514.75,12495.25),(6545.25,12495.25),(6545.25,12504.75),(6554.75,12504.75),(6554.75,12495.25),(6545.25,12495.25),(6514.75,12495.25),(6505.25,12495.25),(6474.75,12495.25),(6465.25,12495.25),(6434.75,12495.25),(6425.25,12495.25),(6425.25,12488),(6565.25,12488),(6565.25,12652)],
  [(6574.75,12635.25),(6605.25,12635.25),(6605.25,12644.75),(6614.75,12644.75),(6614.75,12635.25),(6645.25,12635.25),(6645.25,12644.75),(6654.75,12644.75),(6654.75,12635.25),(6685.25,12635.25),(6685.25,12644.75),(6694.75,12644.75),(6694.75,12635.25),(6565.25,12635.25),(6565.25,12615.25),(6585.25,12615.25),(6585.25,12624.75),(6594.75,12624.75),(6594.75,12615.25),(6625.25,12615.25),(6625.25,12624.75),(6634.75,12624.75),(6634.75,12615.25),(6665.25,12615.25),(6665.25,12624.75),(6674.75,12624.75),(6674.75,12615.25),(6565.25,12615.25),(6565.25,12604.75),(6574.75,12604.75),(6574.75,12595.25),(6605.25,12595.25),(6605.25,12604.75),(6614.75,12604.75),(6614.75,12595.25),(6645.25,12595.25),(6645.25,12604.75),(6654.75,12604.75),(6654.75,12595.25),(6685.25,12595.25),(6685.25,12604.75),(6694.75,12604.75),(6694.75,12595.25),(6565.25,12595.25),(6565.25,12575.25),(6585.25,12575.25),(6585.25,12584.75),(6594.75,12584.75),(6594.75,12575.25),(6625.25,12575.25),(6625.25,12584.75),(6634.75,12584.75),(6634.75,12575.25),(6665.25,12575.25),(6665.25,12584.75),(6699,12581),(6699,12642),(6705,12648),(7075,12648),(7081,12642),(7081,12581),(7075,12575),(6705,12575),(6699,12581),(6674.75,12581),(6674.75,12575.25),(6565.25,12575.25),(6565.25,12564.75),(6574.75,12564.75),(6574.75,12555.25),(6605.25,12555.25),(6605.25,12564.75),(6614.75,12564.75),(6614.75,12555.25),(6645.25,12555.25),(6645.25,12564.75),(6654.75,12564.75),(6654.75,12555.25),(6685.25,12555.25),(6685.25,12564.75),(6694.75,12564.75),(6694.75,12555.25),(6565.25,12555.25),(6565.25,12535.25),(6585.25,12535.25),(6585.25,12544.75),(6594.75,12544.75),(6594.75,12535.25),(6625.25,12535.25),(6625.25,12544.75),(6634.75,12544.75),(6634.75,12535.25),(6665.25,12535.25),(6665.25,12544.75),(6674.75,12544.75),(6674.75,12535.25),(6565.25,12535.25),(6565.25,12524.75),(6574.75,12524.75),(6574.75,12515.25),(6605.25,12515.25),(6605.25,12524.75),(6614.75,12524.75),(6614.75,12515.25),(6645.25,12515.25),(6645.25,12524.75),(6654.75,12524.75),(6654.75,12515.25),(6685.25,12515.25),(6685.25,12524.75),(6694.75,12524.75),(6694.75,12515.25),(6565.25,12515.25),(6565.25,12495.25),(6585.25,12495.25),(6585.25,12504.75),(6594.75,12504.75),(6594.75,12495.25),(6625.25,12495.25),(6625.25,12504.75),(6634.75,12504.75),(6634.75,12495.25),(6665.25,12495.25),(6665.25,12504.75),(6674.75,12504.75),(6674.75,12498),(6699,12498),(6699,12559),(6705,12565),(7075,12565),(7081,12559),(7081,12498),(7075,12492),(6705,12492),(6699,12498),(6674.75,12498),(6565.25,12495.25),(6565.25,12488),(7081,12488),(7081,12460),(7277,12460),(7277,12880),(6565.25,12880),(6565.25,12680),(7081,12680),(7081,12652),(6565.25,12652),(6565.25,12644.75),(6574.75,12644.75)])

lib.write_gds('row61_FSN_right.gds')
